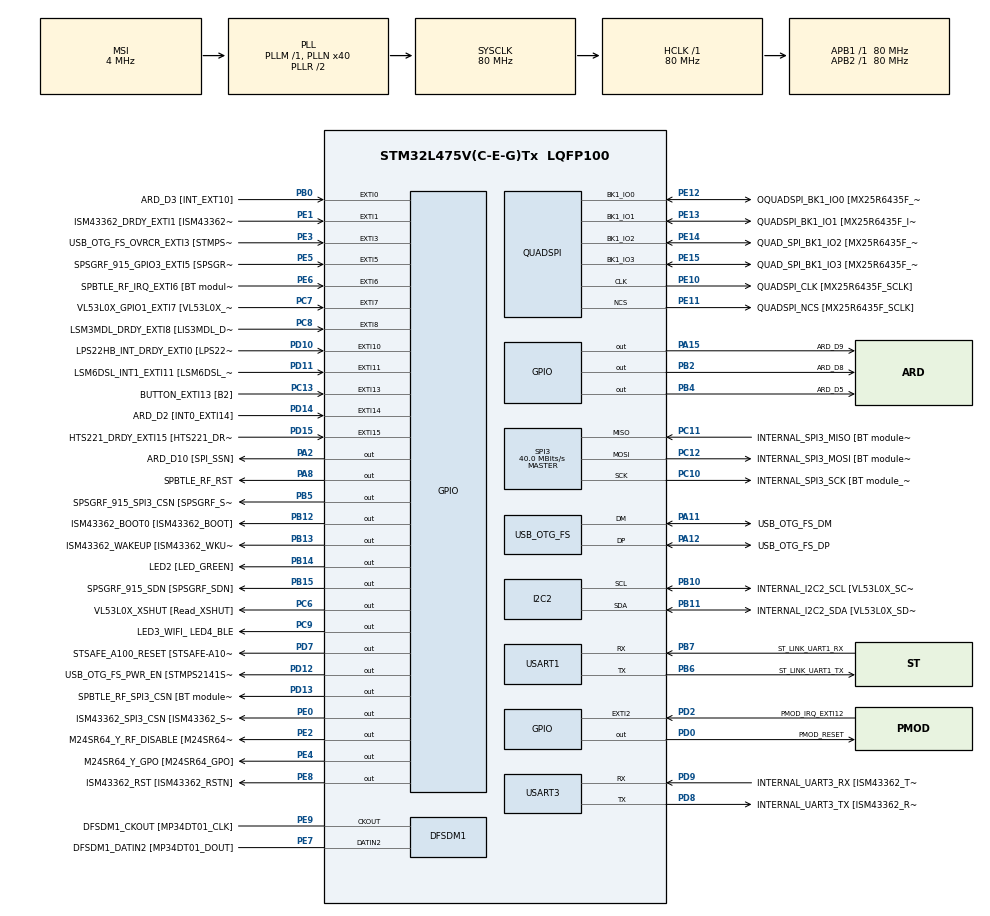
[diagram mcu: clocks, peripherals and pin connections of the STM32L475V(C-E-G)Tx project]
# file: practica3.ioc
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Mcu.Family=STM32L4
Mcu.Name=STM32L475V(C-E-G)Tx
Mcu.Package=LQFP100
NVIC.EXTI15_10_IRQn=true\:0\:0\:false\:false\:true\:true\:true\:true
NVIC.EXTI9_5_IRQn=true\:0\:0\:false\:false\:true\:true\:true\:true
NVIC.PriorityGroup=NVIC_PRIORITYGROUP_4
PA0.GPIO_Label=ARD_D1 [UART4_TX]
PA0.Signal=UART4_TX
PA1.GPIO_Label=ARD_D0 [UART4_RX]
PA1.Signal=UART4_RX
PA10.GPIO_Label=USB_OTG_FS_ID
PA10.Signal=USB_OTG_FS_ID
PA11.GPIO_Label=USB_OTG_FS_DM
PA11.Mode=Device_Only
PA11.Signal=USB_OTG_FS_DM
PA12.GPIO_Label=USB_OTG_FS_DP
PA12.Mode=Device_Only
PA12.Signal=USB_OTG_FS_DP
PA13\ (JTMS-SWDIO).GPIO_Label=SYS_JTMS_SWDIO
PA13\ (JTMS-SWDIO).Mode=Serial_Wire
PA13\ (JTMS-SWDIO).Signal=SYS_JTMS-SWDIO
PA14\ (JTCK-SWCLK).GPIO_Label=SYS_JTCK_SWCLK
PA14\ (JTCK-SWCLK).Mode=Serial_Wire
PA14\ (JTCK-SWCLK).Signal=SYS_JTCK-SWCLK
PA15\ (JTDI).GPIO_Label=ARD_D9
PA15\ (JTDI).Signal=GPIO_Output
PA2.GPIO_Label=ARD_D10 [SPI_SSN]
PA2.Signal=GPIO_Output
PA3.GPIO_Label=ARD_D4
PA3.Signal=S_TIM2_CH4
PA4.GPIO_Label=ARD_D7
PA4.Signal=ADCx_IN9
PA5.GPIO_Label=ARD_D13 [SPI1_SCK]
PA5.Signal=SPI1_SCK
PA6.GPIO_Label=ARD_D12 [SPI1_MISO]
PA6.Signal=SPI1_MISO
PA7.GPIO_Label=ARD_D11 [SPI1_MOSI]
PA7.Signal=SPI1_MOSI
PA8.GPIO_Label=SPBTLE_RF_RST
PA8.Signal=GPIO_Output
PA9.GPIO_Label=USB_OTG_FS_VBUS [STMPS2141STR_OUT]
PA9.Signal=USB_OTG_FS_VBUS
PB0.GPIO_Label=ARD_D3 [INT_EXT10]
PB0.Signal=GPXTI0
PB1.GPIO_Label=ARD_D6 [ADC1_IN6]
PB1.Signal=ADCx_IN16
PB10.GPIO_Label=INTERNAL_I2C2_SCL [VL53L0X_SCL]
PB10.GPIO_Pu=GPIO_PULLUP
PB10.Mode=I2C
PB10.Signal=I2C2_SCL
PB11.GPIO_Label=INTERNAL_I2C2_SDA [VL53L0X_SDA]
PB11.GPIO_Pu=GPIO_PULLUP
PB11.Mode=I2C
PB11.Signal=I2C2_SDA
PB12.GPIO_Label=ISM43362_BOOT0 [ISM43362_BOOT]
PB12.Signal=GPIO_Output
PB13.GPIO_Label=ISM43362_WAKEUP [ISM43362_WKUP]
PB13.Signal=GPIO_Output
PB14.GPIO_Label=LED2 [LED_GREEN]
PB14.Signal=GPIO_Output
PB15.GPIO_Label=SPSGRF_915_SDN [SPSGRF_SDN]
PB15.Signal=GPIO_Output
PB2.GPIO_Label=ARD_D8
PB2.Signal=GPIO_Output
PB3\ (JTDO-TRACESWO).GPIO_Label=SYS_JTD0_SWO
PB3\ (JTDO-TRACESWO).Signal=SYS_JTDO-SWO
PB4\ (NJTRST).GPIO_Label=ARD_D5
PB4\ (NJTRST).Signal=GPIO_Output
PB5.GPIO_Label=SPSGRF_915_SPI3_CSN [SPSGRF_SPI_CS]
PB5.PinState=GPIO_PIN_SET
PB5.Signal=GPIO_Output
PB6.GPIO_Label=ST_LINK_UART1_TX
PB6.Mode=Asynchronous
PB6.Signal=USART1_TX
PB7.GPIO_Label=ST_LINK_UART1_RX
PB7.Mode=Asynchronous
PB7.Signal=USART1_RX
PB8.GPIO_Label=ARD_D15 [I2C1_SCL]
PB8.Signal=I2C1_SCL
PB9.GPIO_Label=ARD_D14 [I2C1_SDA]
PB9.Signal=I2C1_SDA
PC0.GPIO_Label=ARD_A5 [ADC]
PC0.Signal=ADCx_IN1
PC1.GPIO_Label=ARD_A4 [ADC]
PC1.Signal=ADCx_IN2
PC10.GPIO_Label=INTERNAL_SPI3_SCK [BT module_SPI_SCLK] [ISM43362_SCK]
PC10.Mode=Full_Duplex_Master
PC10.Signal=SPI3_SCK
PC11.GPIO_Label=INTERNAL_SPI3_MISO [BT module_SPI_MISO] [ISM43362_MISO]
PC11.Mode=Full_Duplex_Master
PC11.Signal=SPI3_MISO
PC12.GPIO_Label=INTERNAL_SPI3_MOSI [BT module_SPI_MOSI] [ISM43362_MOSI]
PC12.Mode=Full_Duplex_Master
PC12.Signal=SPI3_MOSI
PC13.GPIO_Label=BUTTON_EXTI13 [B2]
PC13.GPIO_ModeDefaultEXTI=GPIO_MODE_IT_FALLING
PC13.Signal=GPXTI13
PC14-OSC32_IN\ (PC14).Mode=LSE-External-Oscillator
PC14-OSC32_IN\ (PC14).Signal=RCC_OSC32_IN
PC15-OSC32_OUT\ (PC15).Mode=LSE-External-Oscillator
PC15-OSC32_OUT\ (PC15).Signal=RCC_OSC32_OUT
PC2.GPIO_Label=ARD_A3 [ADC]
PC2.Signal=ADCx_IN3
PC3.GPIO_Label=ARD_A2 [ADC]
PC3.Signal=ADCx_IN4
PC4.GPIO_Label=ARD_A1 [ADC]
PC4.Signal=ADCx_IN13
PC5.GPIO_Label=ARD_A0 [ADC]
PC5.Signal=ADCx_IN14
PC6.GPIO_Label=VL53L0X_XSHUT [Read_XSHUT]
PC6.Signal=GPIO_Output
PC7.GPIO_Label=VL53L0X_GPIO1_EXTI7 [VL53L0X_GPIO1]
PC7.Signal=GPXTI7
PC8.GPIO_Label=LSM3MDL_DRDY_EXTI8 [LIS3MDL_DRDY]
PC8.Signal=GPXTI8
PC9.GPIO_Label=LED3_WIFI_ LED4_BLE
PC9.Signal=GPIO_Output
PD0.GPIO_Label=PMOD_RESET
PD0.Signal=GPIO_Output
PD1.GPIO_Label=PMOD_SPI2_SCK
PD1.Signal=SPI2_SCK
PD10.GPIO_Label=LPS22HB_INT_DRDY_EXTI0 [LPS22HB_INT_DRDY] 
PD10.Signal=GPXTI10
PD11.GPIO_Label=LSM6DSL_INT1_EXTI11 [LSM6DSL_INT1]
PD11.Signal=GPXTI11
PD12.GPIO_Label=USB_OTG_FS_PWR_EN [STMPS2141STR_EN]
PD12.Signal=GPIO_Output
PD13.GPIO_Label=SPBTLE_RF_SPI3_CSN [BT module_SPI_CS]
PD13.PinState=GPIO_PIN_SET
PD13.Signal=GPIO_Output
PD14.GPIO_Label=ARD_D2 [INT0_EXTI14]
PD14.Signal=GPXTI14
PD15.GPIO_Label=HTS221_DRDY_EXTI15 [HTS221_DRDY]
PD15.Signal=GPXTI15
PD2.GPIO_Label=PMOD_IRQ_EXTI12
PD2.Signal=GPXTI2
PD3.GPIO_Label=PMOD_UART2_CTS
PD3.Signal=USART2_CTS
PD4.GPIO_Label=PMOD_UART2_RTS
PD4.Signal=USART2_RTS
PD5.GPIO_Label=PMOD_UART2_TX
PD5.Signal=USART2_TX
PD6.GPIO_Label=PMOD_UART2_RX
PD6.Signal=USART2_RX
PD7.GPIO_Label=STSAFE_A100_RESET [STSAFE-A100_RESET]
PD7.Signal=GPIO_Output
PD8.GPIO_Label=INTERNAL_UART3_TX [ISM43362_RX]
PD8.Mode=Asynchronous
PD8.Signal=USART3_TX
PD9.GPIO_Label=INTERNAL_UART3_RX [ISM43362_TX]
PD9.Mode=Asynchronous
PD9.Signal=USART3_RX
PE0.GPIO_Label=ISM43362_SPI3_CSN [ISM43362_SSN]
PE0.PinState=GPIO_PIN_SET
PE0.Signal=GPIO_Output
PE1.GPIO_Label=ISM43362_DRDY_EXTI1 [ISM43362_DATARDY]
PE1.Signal=GPXTI1
PE10.GPIO_Label=QUADSPI_CLK [MX25R6435F_SCLK]
PE10.Mode=Single Bank
PE10.Signal=QUADSPI_CLK
PE11.GPIO_Label=QUADSPI_NCS [MX25R6435F_SCLK]
PE11.Mode=Single Bank
PE11.Signal=QUADSPI_NCS
PE12.GPIO_Label=OQUADSPI_BK1_IO0 [MX25R6435F_IO0]
PE12.Mode=Single Bank
PE12.Signal=QUADSPI_BK1_IO0
PE13.GPIO_Label=QUADSPI_BK1_IO1 [MX25R6435F_IO1]
PE13.Mode=Single Bank
PE13.Signal=QUADSPI_BK1_IO1
PE14.GPIO_Label=QUAD_SPI_BK1_IO2 [MX25R6435F_IO2]
PE14.Mode=Single Bank
PE14.Signal=QUADSPI_BK1_IO2
PE15.GPIO_Label=QUAD_SPI_BK1_IO3 [MX25R6435F_IO3]
PE15.Mode=Single Bank
PE15.Signal=QUADSPI_BK1_IO3
PE2.GPIO_Label=M24SR64_Y_RF_DISABLE [M24SR64_RFDIS]
PE2.Signal=GPIO_Output
PE3.GPIO_Label=USB_OTG_FS_OVRCR_EXTI3 [STMPS2141STR_FAULT]
PE3.Signal=GPXTI3
PE4.GPIO_Label=M24SR64_Y_GPO [M24SR64_GPO]
PE4.Signal=GPIO_Output
PE5.GPIO_Label=SPSGRF_915_GPIO3_EXTI5 [SPSGRF_GPIO_3]
PE5.Signal=GPXTI5
PE6.GPIO_Label=SPBTLE_RF_IRQ_EXTI6 [BT module_SPI_IRQ]
PE6.Signal=GPXTI6
PE7.GPIO_Label=DFSDM1_DATIN2 [MP34DT01_DOUT]
PE7.Signal=S_DATAIN2DFSDM1
PE8.GPIO_Label=ISM43362_RST [ISM43362_RSTN]
PE8.Signal=GPIO_Output
PE9.GPIO_Label=DFSDM1_CKOUT [MP34DT01_CLK]
PE9.Signal=S_CKOUTDFSDM1
ProjectManager.HeapSize=0x200
ProjectManager.StackSize=0x400
ProjectManager.TargetToolchain=STM32CubeIDE
QUADSPI.ClockPrescaler=2
QUADSPI.FifoThreshold=4
QUADSPI.FlashSize=23
QUADSPI.SampleShifting=QSPI_SAMPLE_SHIFTING_HALFCYCLE
RCC.ADCFreq_Value=48000000
RCC.AHBFreq_Value=80000000
RCC.APB1Freq_Value=80000000
RCC.APB1TimFreq_Value=80000000
RCC.APB2Freq_Value=80000000
RCC.APB2TimFreq_Value=80000000
RCC.CortexFreq_Value=80000000
RCC.HCLKFreq_Value=80000000
RCC.HSE_VALUE=8000000
RCC.HSI_VALUE=16000000
RCC.MSI_VALUE=4000000
RCC.PLLN=40
RCC.PLLSAI1N=24
RCC.SYSCLKFreq_VALUE=80000000
RCC.SYSCLKSource=RCC_SYSCLKSOURCE_PLLCLK
RCC.USBFreq_Value=48000000
RCC.VCOOutputFreq_Value=160000000
SH.ADCx_IN1.0=ADC1_IN1
SH.ADCx_IN13.0=ADC1_IN13
SH.ADCx_IN14.0=ADC1_IN14
SH.ADCx_IN16.0=ADC1_IN16
SH.ADCx_IN2.0=ADC1_IN2
SH.ADCx_IN3.0=ADC1_IN3
SH.ADCx_IN4.0=ADC1_IN4
SH.ADCx_IN9.0=ADC1_IN9
SH.S_CKOUTDFSDM1.0=DFSDM1_CKOUT,CKOUT
SH.S_CKOUTDFSDM1.1=DFSDM1_CKOUT,PDM_SPI_Input_from_ch12_and_Internal_Clock
SH.S_DATAIN2DFSDM1.0=DFSDM1_DATIN2,PDM_SPI_Input_from_ch12_and_Internal_Clock
SH.S_TIM2_CH4.0=TIM2_CH4
SPI3.CalculateBaudRate=40.0 MBits/s
SPI3.Direction=SPI_DIRECTION_2LINES
SPI3.Mode=SPI_MODE_MASTER
SPI3.VirtualType=VM_MASTER
USART1.VirtualMode-Asynchronous=VM_ASYNC
USART3.VirtualMode-Asynchronous=VM_ASYNC
USB_OTG_FS.VirtualMode=Device_Only
board=B-L475E-IOT01A2

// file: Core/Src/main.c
/* USER CODE BEGIN Header */
/**
  ******************************************************************************
  * @file           : main.c
  * @brief          : Main program body
  ******************************************************************************
  * @attention
  *
  * Copyright (c) 2024 STMicroelectronics.
  * All rights reserved.
  *
  * This software is licensed under terms that can be found in the LICENSE file
  * in the root directory of this software component.
  * If no LICENSE file comes with this software, it is provided AS-IS.
  *
  ******************************************************************************
  */
/* USER CODE END Header */
#include "main.h"

DFSDM_Channel_HandleTypeDef hdfsdm1_channel1;

I2C_HandleTypeDef hi2c2;

QSPI_HandleTypeDef hqspi;

SPI_HandleTypeDef hspi3;

UART_HandleTypeDef huart1;
UART_HandleTypeDef huart3;

PCD_HandleTypeDef hpcd_USB_OTG_FS;

/* USER CODE BEGIN PV */
int __io_putchar(int ch){
	while(HAL_OK != HAL_UART_Transmit(&huart1, (uint8_t *) &ch,1,30000)){
		;
	}
	return ch;
}

int __io_getchar(void){
	uint8_t ch = 0;
	while(HAL_OK != HAL_UART_Receive(&huart1, (uint8_t *) &ch,1,30000)){
		;
	}
	return ch;
}

void Pressure_Test(void)
{
	float press_value = 0;
	BSP_PSENSOR_Init();
	press_value = BSP_PSENSOR_ReadPressure();
	printf("PRESSURE is = %.2f mBar\r\n", press_value);
	printf("---------------------------\r\n");
	HAL_Delay(1000);
}
void Pressure_Test2(float *press_value)
{
    BSP_PSENSOR_Init();
    *press_value = BSP_PSENSOR_ReadPressure();
}

void Humidity_Test(void)
{
	float humidity_value = 0;
	BSP_HSENSOR_Init();

	humidity_value = BSP_HSENSOR_ReadHumidity();
	printf("HUMIDITY is = %.2f %%\r\n", humidity_value);
	printf("---------------------------\r\n");
	HAL_Delay(1000);

}
void Humidity_Test2(float *humidity_value)
{
    BSP_HSENSOR_Init();
    *humidity_value = BSP_HSENSOR_ReadHumidity();
}

void Temperature_Test(void)
{
	float temperature_value = 0;
	BSP_TSENSOR_Init();

	temperature_value = BSP_TSENSOR_ReadTemp();
	printf("TEMPERATURE is = %.2f ºC\r\n", temperature_value);
	printf("---------------------------\r\n");
	HAL_Delay(1000);

}
void Temperature_Test2(float *temperature_value)
{
    BSP_TSENSOR_Init();
    *temperature_value = BSP_TSENSOR_ReadTemp();
}

void Accelero_Test(void)
{
	int16_t pDataXYZ[3] = { 0 };
	BSP_ACCELERO_Init();

	BSP_ACCELERO_AccGetXYZ(pDataXYZ);
	printf("X=%d, Y=%d, Z=%d\r\n", pDataXYZ[0], pDataXYZ[1], pDataXYZ[2]);
	printf("---------------------------\r\n");
	HAL_Delay(1000);

	BSP_ACCELERO_DeInit();
	//printf("\n*** End of Accelerometer Test ***\n");
	return;
}
void Accelero_Test2(int16_t *pDataXYZ)
{
    BSP_ACCELERO_Init();
    BSP_ACCELERO_AccGetXYZ(pDataXYZ);
}

void Gyro_Test(void)
{
	float pGyroDataXYZ[3] = { 0 };
	BSP_GYRO_Init();

	BSP_GYRO_GetXYZ(pGyroDataXYZ);
	printf("GYRO_X = %.2f \r\n", pGyroDataXYZ[0]);
	printf("GYRO_Y = %.2f \r\n", pGyroDataXYZ[1]);
	printf("GYRO_Z = %.2f \r\n", pGyroDataXYZ[2]);
	printf("---------------------------\r\n");
	HAL_Delay(1000);

	BSP_GYRO_DeInit();
	//printf("\n*** End of Gyro Test ***\n");
	return;
}
void Gyro_Test2(float *pGyroDataXYZ)
{
    BSP_GYRO_Init();
    BSP_GYRO_GetXYZ(pGyroDataXYZ);
}

void Magneto_Test(void)
{
	int16_t pDataXYZ[3] = { 0 };
	BSP_MAGNETO_Init();

	BSP_MAGNETO_GetXYZ(pDataXYZ);
	printf("MAGNETO_X = %d \r\n", pDataXYZ[0]);
	printf("MAGNETO_Y = %d \r\n", pDataXYZ[1]);
	printf("MAGNETO_Z = %d \r\n", pDataXYZ[2]);
	HAL_Delay(1000);

	BSP_MAGNETO_DeInit();
	//printf("\n*** End of Magneto Test ***\n");
	return;
}
void Magneto_Test2(int16_t *pDataXYZ)
{
    BSP_MAGNETO_Init();
    BSP_MAGNETO_GetXYZ(pDataXYZ);
}
/* USER CODE END PV */

void SystemClock_Config(void);
static void MX_GPIO_Init(void);
static void MX_DFSDM1_Init(void);
static void MX_I2C2_Init(void);
static void MX_QUADSPI_Init(void);
static void MX_SPI3_Init(void);
static void MX_USART1_UART_Init(void);
static void MX_USART3_UART_Init(void);
static void MX_USB_OTG_FS_PCD_Init(void);

int main(void)
{

  /* MCU Configuration--------------------------------------------------------*/

  /* Reset of all peripherals, Initializes the Flash interface and the Systick. */
  HAL_Init();

  /* Configure the system clock */
  SystemClock_Config();

  /* Initialize all configured peripherals */
  MX_GPIO_Init();
  MX_DFSDM1_Init();
  MX_I2C2_Init();
  MX_QUADSPI_Init();
  MX_SPI3_Init();
  MX_USART1_UART_Init();
  MX_USART3_UART_Init();
  MX_USB_OTG_FS_PCD_Init();
  /* USER CODE BEGIN 2 */
  int mode = 2; //cada sensor tiene una version 1 y 2, mirar mas arriba.
  int breakEnable = 0; //0: muestras infinitas | 1: break tras 1 muestra.
  /* USER CODE END 2 */

  /* Infinite loop */
  /* USER CODE BEGIN WHILE */
  while (1)
  {
		switch (mode) {
		case (1):
			printf("\n\n\n###########################\r\n");
			printf("Lectura de sensores:\r\n");
			printf("###########################\r\n\n");
			Pressure_Test();
			Humidity_Test();
			Temperature_Test();
			Accelero_Test();
			Gyro_Test();
			Magneto_Test();
			if (breakEnable == 1) {
				if (__io_getchar() == 0) {
					break;
				}
			}
			break;
		case (2):
			float press_value = 0, humidity_value = 0, temperature_value = 0;
			int16_t accel_data[3] = { 0 };
			float gyro_data[3] = { 0 };
			int16_t magneto_data[3] = { 0 };

			Pressure_Test2(&press_value);
			Humidity_Test2(&humidity_value);
			Temperature_Test2(&temperature_value);
			Accelero_Test2(accel_data);
			Gyro_Test2(gyro_data);
			Magneto_Test2(magneto_data);

			printf("PRES=%7.2f, HUM=%5.2f %%, TEMP=%5.2f ºC, ", press_value, humidity_value, temperature_value);
			printf("ACCX=%5d, ACCY=%5d, ACCZ=%5d, ", accel_data[0], accel_data[1], accel_data[2]);
			printf("GYRX=%10.2f, GYRY=%10.2f, GYRZ=%10.2f, ", gyro_data[0], gyro_data[1], gyro_data[2]);
			printf("MAGX=%5d, MAGY=%5d, MAGZ=%5d\r\n", magneto_data[0], magneto_data[1], magneto_data[2]);

			HAL_Delay(1000);
			if(breakEnable == 1){
				if (__io_getchar() == 0) {
					break;
				}
			}
			break;
		}
    /* USER CODE END WHILE */

  }
}

void SystemClock_Config(void)
{
  RCC_OscInitTypeDef RCC_OscInitStruct = {0};
  RCC_ClkInitTypeDef RCC_ClkInitStruct = {0};

  /** Configure the main internal regulator output voltage
  */
  if (HAL_PWREx_ControlVoltageScaling(PWR_REGULATOR_VOLTAGE_SCALE1) != HAL_OK)
  {
    Error_Handler();
  }

  /** Configure LSE Drive Capability
  */
  HAL_PWR_EnableBkUpAccess();
  __HAL_RCC_LSEDRIVE_CONFIG(RCC_LSEDRIVE_LOW);

  /** Initializes the RCC Oscillators according to the specified parameters
  * in the RCC_OscInitTypeDef structure.
  */
  RCC_OscInitStruct.OscillatorType = RCC_OSCILLATORTYPE_LSE|RCC_OSCILLATORTYPE_MSI;
  RCC_OscInitStruct.LSEState = RCC_LSE_ON;
  RCC_OscInitStruct.MSIState = RCC_MSI_ON;
  RCC_OscInitStruct.MSICalibrationValue = 0;
  RCC_OscInitStruct.MSIClockRange = RCC_MSIRANGE_6;
  RCC_OscInitStruct.PLL.PLLState = RCC_PLL_ON;
  RCC_OscInitStruct.PLL.PLLSource = RCC_PLLSOURCE_MSI;
  RCC_OscInitStruct.PLL.PLLM = 1;
  RCC_OscInitStruct.PLL.PLLN = 40;
  RCC_OscInitStruct.PLL.PLLP = RCC_PLLP_DIV7;
  RCC_OscInitStruct.PLL.PLLQ = RCC_PLLQ_DIV2;
  RCC_OscInitStruct.PLL.PLLR = RCC_PLLR_DIV2;
  if (HAL_RCC_OscConfig(&RCC_OscInitStruct) != HAL_OK)
  {
    Error_Handler();
  }

  /** Initializes the CPU, AHB and APB buses clocks
  */
  RCC_ClkInitStruct.ClockType = RCC_CLOCKTYPE_HCLK|RCC_CLOCKTYPE_SYSCLK
                              |RCC_CLOCKTYPE_PCLK1|RCC_CLOCKTYPE_PCLK2;
  RCC_ClkInitStruct.SYSCLKSource = RCC_SYSCLKSOURCE_PLLCLK;
  RCC_ClkInitStruct.AHBCLKDivider = RCC_SYSCLK_DIV1;
  RCC_ClkInitStruct.APB1CLKDivider = RCC_HCLK_DIV1;
  RCC_ClkInitStruct.APB2CLKDivider = RCC_HCLK_DIV1;

  if (HAL_RCC_ClockConfig(&RCC_ClkInitStruct, FLASH_LATENCY_4) != HAL_OK)
  {
    Error_Handler();
  }

  /** Enable MSI Auto calibration
  */
  HAL_RCCEx_EnableMSIPLLMode();
}

static void MX_DFSDM1_Init(void)
{

  hdfsdm1_channel1.Instance = DFSDM1_Channel1;
  hdfsdm1_channel1.Init.OutputClock.Activation = ENABLE;
  hdfsdm1_channel1.Init.OutputClock.Selection = DFSDM_CHANNEL_OUTPUT_CLOCK_SYSTEM;
  hdfsdm1_channel1.Init.OutputClock.Divider = 2;
  hdfsdm1_channel1.Init.Input.Multiplexer = DFSDM_CHANNEL_EXTERNAL_INPUTS;
  hdfsdm1_channel1.Init.Input.DataPacking = DFSDM_CHANNEL_STANDARD_MODE;
  hdfsdm1_channel1.Init.Input.Pins = DFSDM_CHANNEL_FOLLOWING_CHANNEL_PINS;
  hdfsdm1_channel1.Init.SerialInterface.Type = DFSDM_CHANNEL_SPI_RISING;
  hdfsdm1_channel1.Init.SerialInterface.SpiClock = DFSDM_CHANNEL_SPI_CLOCK_INTERNAL;
  hdfsdm1_channel1.Init.Awd.FilterOrder = DFSDM_CHANNEL_FASTSINC_ORDER;
  hdfsdm1_channel1.Init.Awd.Oversampling = 1;
  hdfsdm1_channel1.Init.Offset = 0;
  hdfsdm1_channel1.Init.RightBitShift = 0x00;
  if (HAL_DFSDM_ChannelInit(&hdfsdm1_channel1) != HAL_OK)
  {
    Error_Handler();
  }

}

static void MX_I2C2_Init(void)
{

  hi2c2.Instance = I2C2;
  hi2c2.Init.Timing = 0x00000E14;
  hi2c2.Init.OwnAddress1 = 0;
  hi2c2.Init.AddressingMode = I2C_ADDRESSINGMODE_7BIT;
  hi2c2.Init.DualAddressMode = I2C_DUALADDRESS_DISABLE;
  hi2c2.Init.OwnAddress2 = 0;
  hi2c2.Init.OwnAddress2Masks = I2C_OA2_NOMASK;
  hi2c2.Init.GeneralCallMode = I2C_GENERALCALL_DISABLE;
  hi2c2.Init.NoStretchMode = I2C_NOSTRETCH_DISABLE;
  if (HAL_I2C_Init(&hi2c2) != HAL_OK)
  {
    Error_Handler();
  }

  /** Configure Analogue filter
  */
  if (HAL_I2CEx_ConfigAnalogFilter(&hi2c2, I2C_ANALOGFILTER_ENABLE) != HAL_OK)
  {
    Error_Handler();
  }

  /** Configure Digital filter
  */
  if (HAL_I2CEx_ConfigDigitalFilter(&hi2c2, 0) != HAL_OK)
  {
    Error_Handler();
  }

}

static void MX_QUADSPI_Init(void)
{

  /* QUADSPI parameter configuration*/
  hqspi.Instance = QUADSPI;
  hqspi.Init.ClockPrescaler = 2;
  hqspi.Init.FifoThreshold = 4;
  hqspi.Init.SampleShifting = QSPI_SAMPLE_SHIFTING_HALFCYCLE;
  hqspi.Init.FlashSize = 23;
  hqspi.Init.ChipSelectHighTime = QSPI_CS_HIGH_TIME_1_CYCLE;
  hqspi.Init.ClockMode = QSPI_CLOCK_MODE_0;
  if (HAL_QSPI_Init(&hqspi) != HAL_OK)
  {
    Error_Handler();
  }

}

static void MX_SPI3_Init(void)
{

  /* SPI3 parameter configuration*/
  hspi3.Instance = SPI3;
  hspi3.Init.Mode = SPI_MODE_MASTER;
  hspi3.Init.Direction = SPI_DIRECTION_2LINES;
  hspi3.Init.DataSize = SPI_DATASIZE_4BIT;
  hspi3.Init.CLKPolarity = SPI_POLARITY_LOW;
  hspi3.Init.CLKPhase = SPI_PHASE_1EDGE;
  hspi3.Init.NSS = SPI_NSS_SOFT;
  hspi3.Init.BaudRatePrescaler = SPI_BAUDRATEPRESCALER_2;
  hspi3.Init.FirstBit = SPI_FIRSTBIT_MSB;
  hspi3.Init.TIMode = SPI_TIMODE_DISABLE;
  hspi3.Init.CRCCalculation = SPI_CRCCALCULATION_DISABLE;
  hspi3.Init.CRCPolynomial = 7;
  hspi3.Init.CRCLength = SPI_CRC_LENGTH_DATASIZE;
  hspi3.Init.NSSPMode = SPI_NSS_PULSE_ENABLE;
  if (HAL_SPI_Init(&hspi3) != HAL_OK)
  {
    Error_Handler();
  }

}

static void MX_USART1_UART_Init(void)
{

  huart1.Instance = USART1;
  huart1.Init.BaudRate = 115200;
  huart1.Init.WordLength = UART_WORDLENGTH_8B;
  huart1.Init.StopBits = UART_STOPBITS_1;
  huart1.Init.Parity = UART_PARITY_NONE;
  huart1.Init.Mode = UART_MODE_TX_RX;
  huart1.Init.HwFlowCtl = UART_HWCONTROL_NONE;
  huart1.Init.OverSampling = UART_OVERSAMPLING_16;
  huart1.Init.OneBitSampling = UART_ONE_BIT_SAMPLE_DISABLE;
  huart1.AdvancedInit.AdvFeatureInit = UART_ADVFEATURE_NO_INIT;
  if (HAL_UART_Init(&huart1) != HAL_OK)
  {
    Error_Handler();
  }

}

static void MX_USART3_UART_Init(void)
{

  huart3.Instance = USART3;
  huart3.Init.BaudRate = 115200;
  huart3.Init.WordLength = UART_WORDLENGTH_8B;
  huart3.Init.StopBits = UART_STOPBITS_1;
  huart3.Init.Parity = UART_PARITY_NONE;
  huart3.Init.Mode = UART_MODE_TX_RX;
  huart3.Init.HwFlowCtl = UART_HWCONTROL_NONE;
  huart3.Init.OverSampling = UART_OVERSAMPLING_16;
  huart3.Init.OneBitSampling = UART_ONE_BIT_SAMPLE_DISABLE;
  huart3.AdvancedInit.AdvFeatureInit = UART_ADVFEATURE_NO_INIT;
  if (HAL_UART_Init(&huart3) != HAL_OK)
  {
    Error_Handler();
  }

}

static void MX_USB_OTG_FS_PCD_Init(void)
{

  hpcd_USB_OTG_FS.Instance = USB_OTG_FS;
  hpcd_USB_OTG_FS.Init.dev_endpoints = 6;
  hpcd_USB_OTG_FS.Init.speed = PCD_SPEED_FULL;
  hpcd_USB_OTG_FS.Init.phy_itface = PCD_PHY_EMBEDDED;
  hpcd_USB_OTG_FS.Init.Sof_enable = DISABLE;
  hpcd_USB_OTG_FS.Init.low_power_enable = DISABLE;
  hpcd_USB_OTG_FS.Init.lpm_enable = DISABLE;
  hpcd_USB_OTG_FS.Init.battery_charging_enable = DISABLE;
  hpcd_USB_OTG_FS.Init.use_dedicated_ep1 = DISABLE;
  hpcd_USB_OTG_FS.Init.vbus_sensing_enable = DISABLE;
  if (HAL_PCD_Init(&hpcd_USB_OTG_FS) != HAL_OK)
  {
    Error_Handler();
  }

}

static void MX_GPIO_Init(void)
{
  GPIO_InitTypeDef GPIO_InitStruct = {0};

  /* GPIO Ports Clock Enable */
  __HAL_RCC_GPIOE_CLK_ENABLE();
  __HAL_RCC_GPIOC_CLK_ENABLE();
  __HAL_RCC_GPIOA_CLK_ENABLE();
  __HAL_RCC_GPIOB_CLK_ENABLE();
  __HAL_RCC_GPIOD_CLK_ENABLE();

  /*Configure GPIO pin Output Level */
  HAL_GPIO_WritePin(GPIOE, M24SR64_Y_RF_DISABLE_Pin|M24SR64_Y_GPO_Pin|ISM43362_RST_Pin, GPIO_PIN_RESET);

  /*Configure GPIO pin Output Level */
  HAL_GPIO_WritePin(GPIOA, ARD_D10_Pin|SPBTLE_RF_RST_Pin|ARD_D9_Pin, GPIO_PIN_RESET);

  /*Configure GPIO pin Output Level */
  HAL_GPIO_WritePin(GPIOB, ARD_D8_Pin|ISM43362_BOOT0_Pin|ISM43362_WAKEUP_Pin|LED2_Pin
                          |SPSGRF_915_SDN_Pin|ARD_D5_Pin, GPIO_PIN_RESET);

  /*Configure GPIO pin Output Level */
  HAL_GPIO_WritePin(GPIOD, USB_OTG_FS_PWR_EN_Pin|PMOD_RESET_Pin|STSAFE_A100_RESET_Pin, GPIO_PIN_RESET);

  /*Configure GPIO pin Output Level */
  HAL_GPIO_WritePin(SPBTLE_RF_SPI3_CSN_GPIO_Port, SPBTLE_RF_SPI3_CSN_Pin, GPIO_PIN_SET);

  /*Configure GPIO pin Output Level */
  HAL_GPIO_WritePin(GPIOC, VL53L0X_XSHUT_Pin|LED3_WIFI__LED4_BLE_Pin, GPIO_PIN_RESET);

  /*Configure GPIO pin Output Level */
  HAL_GPIO_WritePin(SPSGRF_915_SPI3_CSN_GPIO_Port, SPSGRF_915_SPI3_CSN_Pin, GPIO_PIN_SET);

  /*Configure GPIO pin Output Level */
  HAL_GPIO_WritePin(ISM43362_SPI3_CSN_GPIO_Port, ISM43362_SPI3_CSN_Pin, GPIO_PIN_SET);

  /*Configure GPIO pins : M24SR64_Y_RF_DISABLE_Pin M24SR64_Y_GPO_Pin ISM43362_RST_Pin ISM43362_SPI3_CSN_Pin */
  GPIO_InitStruct.Pin = M24SR64_Y_RF_DISABLE_Pin|M24SR64_Y_GPO_Pin|ISM43362_RST_Pin|ISM43362_SPI3_CSN_Pin;
  GPIO_InitStruct.Mode = GPIO_MODE_OUTPUT_PP;
  GPIO_InitStruct.Pull = GPIO_NOPULL;
  GPIO_InitStruct.Speed = GPIO_SPEED_FREQ_LOW;
  HAL_GPIO_Init(GPIOE, &GPIO_InitStruct);

  /*Configure GPIO pins : USB_OTG_FS_OVRCR_EXTI3_Pin SPSGRF_915_GPIO3_EXTI5_Pin SPBTLE_RF_IRQ_EXTI6_Pin ISM43362_DRDY_EXTI1_Pin */
  GPIO_InitStruct.Pin = USB_OTG_FS_OVRCR_EXTI3_Pin|SPSGRF_915_GPIO3_EXTI5_Pin|SPBTLE_RF_IRQ_EXTI6_Pin|ISM43362_DRDY_EXTI1_Pin;
  GPIO_InitStruct.Mode = GPIO_MODE_IT_RISING;
  GPIO_InitStruct.Pull = GPIO_NOPULL;
  HAL_GPIO_Init(GPIOE, &GPIO_InitStruct);

  /*Configure GPIO pin : BUTTON_EXTI13_Pin */
  GPIO_InitStruct.Pin = BUTTON_EXTI13_Pin;
  GPIO_InitStruct.Mode = GPIO_MODE_IT_FALLING;
  GPIO_InitStruct.Pull = GPIO_NOPULL;
  HAL_GPIO_Init(BUTTON_EXTI13_GPIO_Port, &GPIO_InitStruct);

  /*Configure GPIO pins : ARD_A5_Pin ARD_A4_Pin ARD_A3_Pin ARD_A2_Pin
                           ARD_A1_Pin ARD_A0_Pin */
  GPIO_InitStruct.Pin = ARD_A5_Pin|ARD_A4_Pin|ARD_A3_Pin|ARD_A2_Pin
                          |ARD_A1_Pin|ARD_A0_Pin;
  GPIO_InitStruct.Mode = GPIO_MODE_ANALOG_ADC_CONTROL;
  GPIO_InitStruct.Pull = GPIO_NOPULL;
  HAL_GPIO_Init(GPIOC, &GPIO_InitStruct);

  /*Configure GPIO pins : ARD_D1_Pin ARD_D0_Pin */
  GPIO_InitStruct.Pin = ARD_D1_Pin|ARD_D0_Pin;
  GPIO_InitStruct.Mode = GPIO_MODE_AF_PP;
  GPIO_InitStruct.Pull = GPIO_NOPULL;
  GPIO_InitStruct.Speed = GPIO_SPEED_FREQ_VERY_HIGH;
  GPIO_InitStruct.Alternate = GPIO_AF8_UART4;
  HAL_GPIO_Init(GPIOA, &GPIO_InitStruct);

  /*Configure GPIO pins : ARD_D10_Pin SPBTLE_RF_RST_Pin ARD_D9_Pin */
  GPIO_InitStruct.Pin = ARD_D10_Pin|SPBTLE_RF_RST_Pin|ARD_D9_Pin;
  GPIO_InitStruct.Mode = GPIO_MODE_OUTPUT_PP;
  GPIO_InitStruct.Pull = GPIO_NOPULL;
  GPIO_InitStruct.Speed = GPIO_SPEED_FREQ_LOW;
  HAL_GPIO_Init(GPIOA, &GPIO_InitStruct);

  /*Configure GPIO pin : ARD_D4_Pin */
  GPIO_InitStruct.Pin = ARD_D4_Pin;
  GPIO_InitStruct.Mode = GPIO_MODE_AF_PP;
  GPIO_InitStruct.Pull = GPIO_NOPULL;
  GPIO_InitStruct.Speed = GPIO_SPEED_FREQ_LOW;
  GPIO_InitStruct.Alternate = GPIO_AF1_TIM2;
  HAL_GPIO_Init(ARD_D4_GPIO_Port, &GPIO_InitStruct);

  /*Configure GPIO pin : ARD_D7_Pin */
  GPIO_InitStruct.Pin = ARD_D7_Pin;
  GPIO_InitStruct.Mode = GPIO_MODE_ANALOG_ADC_CONTROL;
  GPIO_InitStruct.Pull = GPIO_NOPULL;
  HAL_GPIO_Init(ARD_D7_GPIO_Port, &GPIO_InitStruct);

  /*Configure GPIO pins : ARD_D13_Pin ARD_D12_Pin ARD_D11_Pin */
  GPIO_InitStruct.Pin = ARD_D13_Pin|ARD_D12_Pin|ARD_D11_Pin;
  GPIO_InitStruct.Mode = GPIO_MODE_AF_PP;
  GPIO_InitStruct.Pull = GPIO_NOPULL;
  GPIO_InitStruct.Speed = GPIO_SPEED_FREQ_VERY_HIGH;
  GPIO_InitStruct.Alternate = GPIO_AF5_SPI1;
  HAL_GPIO_Init(GPIOA, &GPIO_InitStruct);

  /*Configure GPIO pin : ARD_D3_Pin */
  GPIO_InitStruct.Pin = ARD_D3_Pin;
  GPIO_InitStruct.Mode = GPIO_MODE_IT_RISING;
  GPIO_InitStruct.Pull = GPIO_NOPULL;
  HAL_GPIO_Init(ARD_D3_GPIO_Port, &GPIO_InitStruct);

  /*Configure GPIO pin : ARD_D6_Pin */
  GPIO_InitStruct.Pin = ARD_D6_Pin;
  GPIO_InitStruct.Mode = GPIO_MODE_ANALOG_ADC_CONTROL;
  GPIO_InitStruct.Pull = GPIO_NOPULL;
  HAL_GPIO_Init(ARD_D6_GPIO_Port, &GPIO_InitStruct);

  /*Configure GPIO pins : ARD_D8_Pin ISM43362_BOOT0_Pin ISM43362_WAKEUP_Pin LED2_Pin
                           SPSGRF_915_SDN_Pin ARD_D5_Pin SPSGRF_915_SPI3_CSN_Pin */
  GPIO_InitStruct.Pin = ARD_D8_Pin|ISM43362_BOOT0_Pin|ISM43362_WAKEUP_Pin|LED2_Pin
                          |SPSGRF_915_SDN_Pin|ARD_D5_Pin|SPSGRF_915_SPI3_CSN_Pin;
  GPIO_InitStruct.Mode = GPIO_MODE_OUTPUT_PP;
  GPIO_InitStruct.Pull = GPIO_NOPULL;
  GPIO_InitStruct.Speed = GPIO_SPEED_FREQ_LOW;
  HAL_GPIO_Init(GPIOB, &GPIO_InitStruct);

  /*Configure GPIO pins : LPS22HB_INT_DRDY_EXTI0_Pin LSM6DSL_INT1_EXTI11_Pin ARD_D2_Pin HTS221_DRDY_EXTI15_Pin
                           PMOD_IRQ_EXTI12_Pin */
  GPIO_InitStruct.Pin = LPS22HB_INT_DRDY_EXTI0_Pin|LSM6DSL_INT1_EXTI11_Pin|ARD_D2_Pin|HTS221_DRDY_EXTI15_Pin
                          |PMOD_IRQ_EXTI12_Pin;
  GPIO_InitStruct.Mode = GPIO_MODE_IT_RISING;
  GPIO_InitStruct.Pull = GPIO_NOPULL;
  HAL_GPIO_Init(GPIOD, &GPIO_InitStruct);

  /*Configure GPIO pins : USB_OTG_FS_PWR_EN_Pin SPBTLE_RF_SPI3_CSN_Pin PMOD_RESET_Pin STSAFE_A100_RESET_Pin */
  GPIO_InitStruct.Pin = USB_OTG_FS_PWR_EN_Pin|SPBTLE_RF_SPI3_CSN_Pin|PMOD_RESET_Pin|STSAFE_A100_RESET_Pin;
  GPIO_InitStruct.Mode = GPIO_MODE_OUTPUT_PP;
  GPIO_InitStruct.Pull = GPIO_NOPULL;
  GPIO_InitStruct.Speed = GPIO_SPEED_FREQ_LOW;
  HAL_GPIO_Init(GPIOD, &GPIO_InitStruct);

  /*Configure GPIO pins : VL53L0X_XSHUT_Pin LED3_WIFI__LED4_BLE_Pin */
  GPIO_InitStruct.Pin = VL53L0X_XSHUT_Pin|LED3_WIFI__LED4_BLE_Pin;
  GPIO_InitStruct.Mode = GPIO_MODE_OUTPUT_PP;
  GPIO_InitStruct.Pull = GPIO_NOPULL;
  GPIO_InitStruct.Speed = GPIO_SPEED_FREQ_LOW;
  HAL_GPIO_Init(GPIOC, &GPIO_InitStruct);

  /*Configure GPIO pins : VL53L0X_GPIO1_EXTI7_Pin LSM3MDL_DRDY_EXTI8_Pin */
  GPIO_InitStruct.Pin = VL53L0X_GPIO1_EXTI7_Pin|LSM3MDL_DRDY_EXTI8_Pin;
  GPIO_InitStruct.Mode = GPIO_MODE_IT_RISING;
  GPIO_InitStruct.Pull = GPIO_NOPULL;
  HAL_GPIO_Init(GPIOC, &GPIO_InitStruct);

  /*Configure GPIO pin : PMOD_SPI2_SCK_Pin */
  GPIO_InitStruct.Pin = PMOD_SPI2_SCK_Pin;
  GPIO_InitStruct.Mode = GPIO_MODE_AF_PP;
  GPIO_InitStruct.Pull = GPIO_NOPULL;
  GPIO_InitStruct.Speed = GPIO_SPEED_FREQ_VERY_HIGH;
  GPIO_InitStruct.Alternate = GPIO_AF5_SPI2;
  HAL_GPIO_Init(PMOD_SPI2_SCK_GPIO_Port, &GPIO_InitStruct);

  /*Configure GPIO pins : PMOD_UART2_CTS_Pin PMOD_UART2_RTS_Pin PMOD_UART2_TX_Pin PMOD_UART2_RX_Pin */
  GPIO_InitStruct.Pin = PMOD_UART2_CTS_Pin|PMOD_UART2_RTS_Pin|PMOD_UART2_TX_Pin|PMOD_UART2_RX_Pin;
  GPIO_InitStruct.Mode = GPIO_MODE_AF_PP;
  GPIO_InitStruct.Pull = GPIO_NOPULL;
  GPIO_InitStruct.Speed = GPIO_SPEED_FREQ_VERY_HIGH;
  GPIO_InitStruct.Alternate = GPIO_AF7_USART2;
  HAL_GPIO_Init(GPIOD, &GPIO_InitStruct);

  /*Configure GPIO pins : ARD_D15_Pin ARD_D14_Pin */
  GPIO_InitStruct.Pin = ARD_D15_Pin|ARD_D14_Pin;
  GPIO_InitStruct.Mode = GPIO_MODE_AF_OD;
  GPIO_InitStruct.Pull = GPIO_NOPULL;
  GPIO_InitStruct.Speed = GPIO_SPEED_FREQ_VERY_HIGH;
  GPIO_InitStruct.Alternate = GPIO_AF4_I2C1;
  HAL_GPIO_Init(GPIOB, &GPIO_InitStruct);

  /* EXTI interrupt init*/
  HAL_NVIC_SetPriority(EXTI9_5_IRQn, 0, 0);
  HAL_NVIC_EnableIRQ(EXTI9_5_IRQn);

  HAL_NVIC_SetPriority(EXTI15_10_IRQn, 0, 0);
  HAL_NVIC_EnableIRQ(EXTI15_10_IRQn);

}

void Error_Handler(void)
{
  __disable_irq();
  while (1)
  {
  }
}
